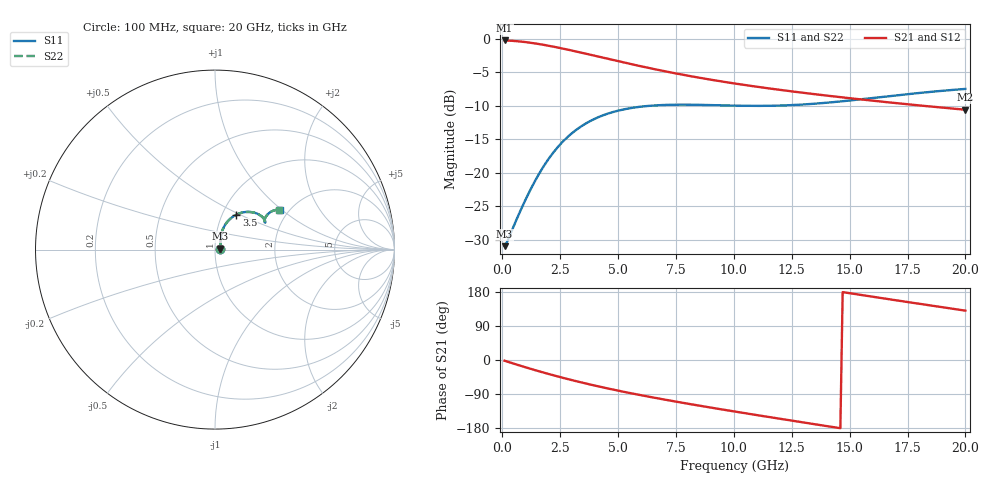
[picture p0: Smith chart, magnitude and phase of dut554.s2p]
! Touchstone file exported from HFSS 2024.1.0
!  File:  C:/UserFiles/LocalFiles/RDL_TSV_Batchsim/temp_RDL_TSV_554_1779750556.aedt
!  Generated:  07:24:39 AM May 26, 2026
!  Design:  RDL_TSV
!  Project:  temp_RDL_TSV_554_1779750556
!  Setup:  Setup1
!  Solution:  Sweep
! Variables:
!  dtsv = 8.92um
!  hbump = 3um
!  htsv = 81.05um
!  ldown = 449.97um
!  lrdl = 453.88um
!  p = 40
!  p1 = 49.44um
!  rhole = 10um
!  subl = 3165.43um
!  t = 450um
!  tdown = 2.07um
!  trdl = 3.33um
!  viad = 10um
!  wdown = 24.15um
!  wrdl = 10.56um
!  xbump = 18um
# GHz S MA R 50.000000
! Terminal data exported
! Port[1] = TM1_1_T1
! Port[2] = TM1_4_T1
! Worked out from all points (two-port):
!   200 points, 100 MHz to 20 GHz, reference 50 ohm
!   highest |S21| = -0.25 dB at 100 MHz (marker M1); lowest = -10.6 dB at 20 GHz (marker M2)
!   |S21| within 3 dB of the highest: start of sweep to 4.887 GHz
!   lowest |S11| = -30.9 dB at 100 MHz (marker M3), VSWR 1.06, Z = 52.9 + j0.613 ohm
!   |S11| at or under -10 dB: start of sweep to 6.362 GHz; 10.51 GHz to 11.45 GHz (936.3 MHz wide, 8.53 % of centre)
!   |S22| runs from -30.9 to -7.5 dB; largest |S21 - S12| = 2.3e-14
!   S11 on the Smith chart (normalised r, x): 100 MHz: 1.06, +0.01; 3.5 GHz: 1.16, +0.48; 20 GHz: 1.79, +0.97
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0.1  0.02836 11.8  0.972 -2.0  0.972 -2.0  0.02836 11.8
! Gamma 0 0 0 0
! Port Impedance 50 0 50 0
0.2  0.03038 22.1  0.9708 -4.0  0.9708 -4.0  0.03038 22.1
0.5  0.04032 42.9  0.964 -9.8  0.964 -9.8  0.04032 42.8
0.9  0.05774 57.9  0.9495 -17.3  0.9495 -17.3  0.05773 57.9
1.4  0.08608 66.8  0.9247 -26.5  0.9247 -26.5  0.08605 66.8
1.8  0.1129 68.9  0.9007 -33.5  0.9007 -33.5  0.1128 68.9
2.2  0.1414 68.3  0.8743 -40.2  0.8743 -40.2  0.1413 68.2
2.6  0.1699 66.1  0.8464 -46.7  0.8464 -46.7  0.1698 66.0
3  0.197 63.0  0.8178 -53.0  0.8178 -53.0  0.1968 63.0
3.5  0.2275 58.7  0.7819 -60.5  0.7819 -60.5  0.2272 58.6
4.2  0.2623 52.5  0.7331 -70.3  0.7331 -70.3  0.262 52.5
5.1  0.2936 45.2  0.6749 -82.1  0.6749 -82.1  0.2932 45.2
5.9  0.3103 39.8  0.6285 -91.9  0.6285 -91.9  0.31 39.8
6.8  0.3198 35.1  0.5827 -102.2  0.5827 -102.2  0.3194 35.0
8.4  0.3218 29.8  0.5162 -119.4  0.5162 -119.4  0.3214 29.8
10.1  0.317 28.2  0.4622 -136.6  0.4622 -136.6  0.3166 28.2
11.7  0.3167 29.3  0.4223 -152.3  0.4223 -152.3  0.3164 29.4
13.4  0.3269 31.7  0.3878 -168.6  0.3878 -168.6  0.3266 31.7
15  0.3463 33.5  0.3605 176.3  0.3605 176.3  0.346 33.5
16.7  0.373 34.1  0.3354 160.4  0.3354 160.4  0.3727 34.1
18.3  0.3988 33.4  0.3148 145.7  0.3148 145.7  0.3985 33.4
20  0.4227 31.7  0.2957 130.3  0.2957 130.3  0.4224 31.7
